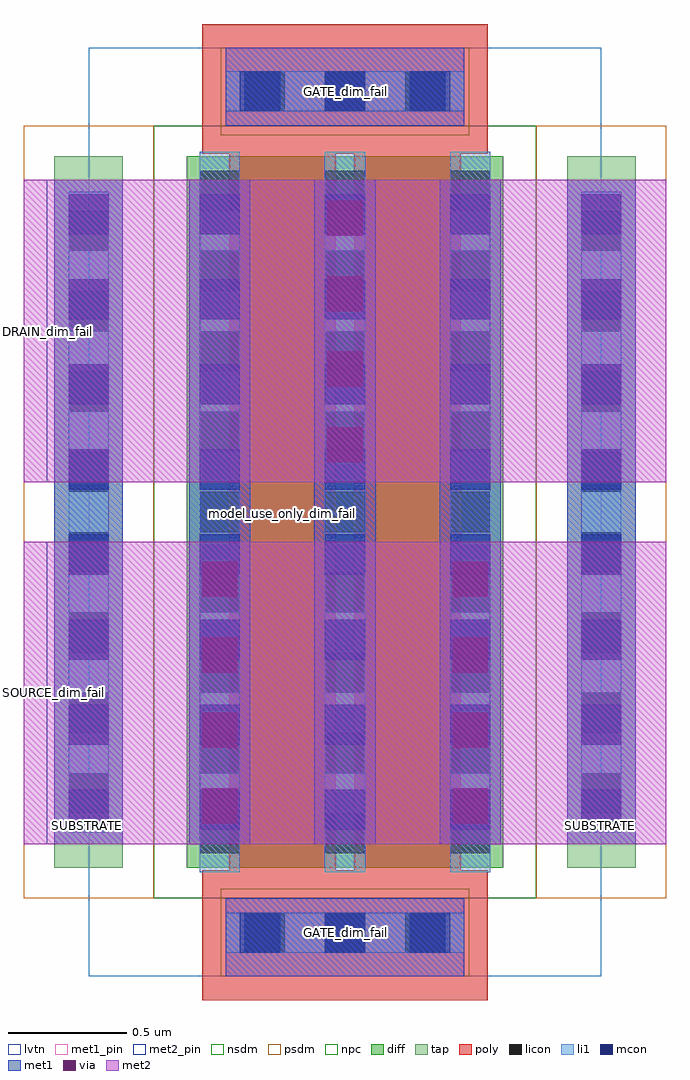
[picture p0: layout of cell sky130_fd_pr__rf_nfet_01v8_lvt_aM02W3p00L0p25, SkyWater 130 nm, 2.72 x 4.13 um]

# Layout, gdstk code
import gdstk
lib = gdstk.Library(unit=1e-6, precision=1e-09)
def R(c, l, rs):  # rectangles x0, y0, x1, y1
    for r in rs: c.add(gdstk.rectangle(r[:2], r[2:], *l))
def A(c, l, x, y, w, h, nx, ny, dx, dy):  # array of equal rectangles
    R(c, l, [(x+i*dx, y+j*dy, x+i*dx+w, y+j*dy+h) for i in range(nx) for j in range(ny)])
def P(c, l, *ps):  # polygons
    for p in ps: c.add(gdstk.Polygon(p, *l))
diff = (65, 20)
tap = (65, 44)
poly = (66, 20)
licon = (66, 44)
li1 = (67, 20)
mcon = (67, 44)
met1_pin = (68, 16)
met1 = (68, 20)
via = (68, 44)
met2_pin = (69, 16)
met2 = (69, 20)
nsdm = (93, 44)
psdm = (94, 20)
npc = (95, 20)
lvtn = (125, 44)

sky130_fd_pr__rf_nfet_01 = lib.new_cell('sky130_fd_pr__rf_nfet_01v8_lvt_aM02W3p00L0p25')
R(sky130_fd_pr__rf_nfet_01, diff, [(0.74,0.51,2.08,3.52)])
R(sky130_fd_pr__rf_nfet_01, tap, [(0.18,0.51,0.47,3.52), (2.35,0.51,2.64,3.52)])
P(sky130_fd_pr__rf_nfet_01, poly, [(0.805,-0.05),(0.805,0.5),(0.92,0.5),(0.92,3.53),(1.37,3.53),(1.37,0.5),(1.45,0.5),(1.45,3.53),(0.805,3.53),(0.805,4.08),(2.015,4.08),(2.015,3.53),(1.9,3.53),(1.9,0.5),(2.015,0.5),(2.015,-0.05)])
A(sky130_fd_pr__rf_nfet_01, licon, 0.985, 0.15, 0.17, 0.17, 3, 2, 0.34, 3.56)
A(sky130_fd_pr__rf_nfet_01, licon, 0.795, 0.57, 0.17, 0.17, 3, 9, 0.53, 0.34)
A(sky130_fd_pr__rf_nfet_01, licon, 0.24, 0.74, 0.17, 0.17, 1, 8, 0, 0.34)
A(sky130_fd_pr__rf_nfet_01, licon, 2.41, 0.74, 0.17, 0.17, 1, 8, 0, 0.34)
A(sky130_fd_pr__rf_nfet_01, li1, 0.795, 0.49, 0.17, 3.05, 3, 1, 0.53, 0)
A(sky130_fd_pr__rf_nfet_01, li1, 0.795, 0.67, 0.17, 2.69, 3, 1, 0.53, 0)
R(sky130_fd_pr__rf_nfet_01, li1, [(0.905,0.15,1.915,0.32), (0.965,0.15,1.855,0.32), (0.24,0.66,0.41,3.37), (2.41,0.66,2.58,3.37), (0.24,0.67,0.41,3.36), (2.41,0.67,2.58,3.36), (0.905,3.71,1.915,3.88), (0.965,3.71,1.855,3.88)])
A(sky130_fd_pr__rf_nfet_01, mcon, 0.965, 0.15, 0.17, 0.17, 3, 2, 0.36, 3.56)
A(sky130_fd_pr__rf_nfet_01, mcon, 0.24, 0.67, 0.17, 0.17, 1, 8, 0, 0.36)
A(sky130_fd_pr__rf_nfet_01, mcon, 0.795, 0.67, 0.17, 0.17, 3, 8, 0.53, 0.36)
A(sky130_fd_pr__rf_nfet_01, mcon, 2.41, 0.67, 0.17, 0.17, 1, 8, 0, 0.36)
R(sky130_fd_pr__rf_nfet_01, met1_pin, [(0.905,0.05,1.915,0.38), (0.18,0.61,0.47,0.69), (2.35,0.61,2.64,0.69), (0.905,3.65,1.915,3.98)])
A(sky130_fd_pr__rf_nfet_01, met1, 0.75, 0.61, 0.26, 2.81, 3, 1, 0.53, 0)
R(sky130_fd_pr__rf_nfet_01, met1, [(0.905,0.05,1.915,0.38), (0.18,0.61,0.47,3.42), (0.75,0.61,1.01,1.89), (1.81,0.61,2.07,1.89), (2.35,0.61,2.64,3.42), (1.28,2.14,1.54,3.42), (0.905,3.65,1.915,3.98)])
A(sky130_fd_pr__rf_nfet_01, via, 0.805, 0.695, 0.15, 0.15, 1, 4, 0, 0.32)
A(sky130_fd_pr__rf_nfet_01, via, 1.865, 0.695, 0.15, 0.15, 1, 4, 0, 0.32)
A(sky130_fd_pr__rf_nfet_01, via, 1.335, 2.225, 0.15, 0.15, 1, 4, 0, 0.32)
R(sky130_fd_pr__rf_nfet_01, met2_pin, [(0.05,0.61,0.15,1.89), (0.05,2.14,0.15,3.42)])
R(sky130_fd_pr__rf_nfet_01, met2, [(0.05,0.61,2.77,1.89), (0.75,0.61,1.01,1.89), (1.81,0.61,2.07,1.89), (0.05,2.14,2.77,3.42), (1.28,2.14,1.54,3.42)])
R(sky130_fd_pr__rf_nfet_01, nsdm, [(0.6,0.38,2.22,3.65)])
R(sky130_fd_pr__rf_nfet_01, psdm, [(0.05,0.38,0.6,3.65), (2.22,0.38,2.77,3.65)])
R(sky130_fd_pr__rf_nfet_01, npc, [(0.885,0.05,1.935,0.42), (0.885,3.61,1.935,3.98)])
R(sky130_fd_pr__rf_nfet_01, lvtn, [(0.325,0.05,2.495,3.98)])
sky130_fd_pr__rf_nfet_01.add(gdstk.Label('model_use_only_dim_fail', (1.145,2.01), layer=66, texttype=83))
sky130_fd_pr__rf_nfet_01.add(gdstk.Label('model_use_only_dim_fail', (1.675,2.01), layer=66, texttype=83))
sky130_fd_pr__rf_nfet_01.add(gdstk.Label('SOURCE_dim_fail', (0.15,1.25), layer=69, texttype=5))
sky130_fd_pr__rf_nfet_01.add(gdstk.Label('DRAIN_dim_fail', (0.15,2.78), layer=69, texttype=5))
sky130_fd_pr__rf_nfet_01.add(gdstk.Label('GATE_dim_fail', (1.41,3.795), layer=68, texttype=5))
sky130_fd_pr__rf_nfet_01.add(gdstk.Label('GATE_dim_fail', (1.41,0.235), layer=68, texttype=5))
sky130_fd_pr__rf_nfet_01.add(gdstk.Label('SUBSTRATE', (0.32,0.69), layer=68, texttype=5))
sky130_fd_pr__rf_nfet_01.add(gdstk.Label('SUBSTRATE', (2.49,0.69), layer=68, texttype=5))

lib.write_gds('sky130_fd_pr__rf_nfet_01v8_lvt_aM02W3p00L0p25.gds')
